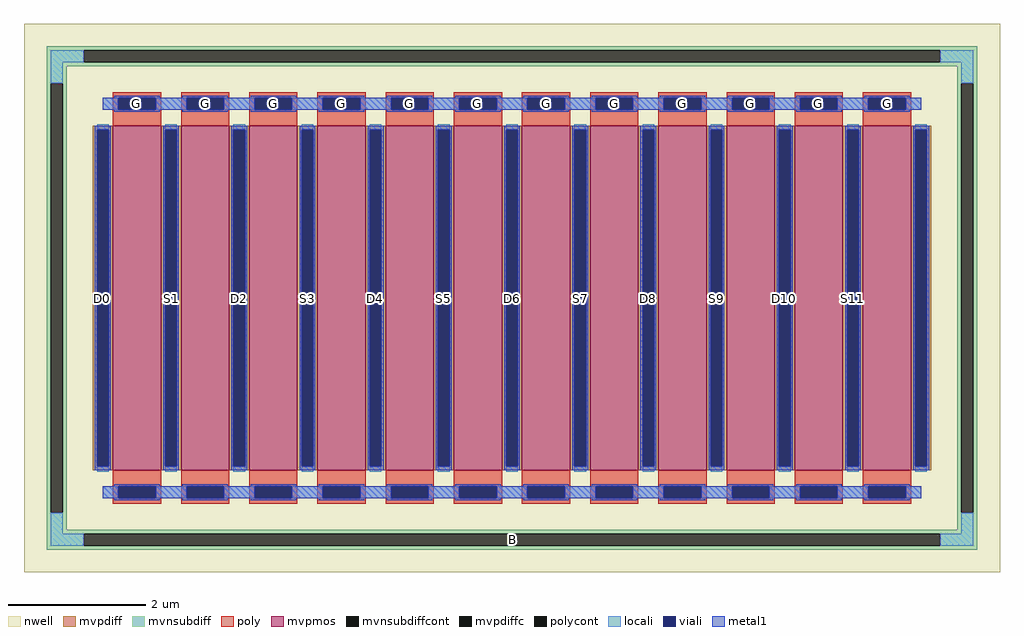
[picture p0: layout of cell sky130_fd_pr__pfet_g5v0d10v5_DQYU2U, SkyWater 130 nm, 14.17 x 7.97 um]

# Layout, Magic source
magic
tech sky130A
magscale 1 2
<< nwell >>
rect -1417 -797 1417 797
<< mvpmos >>
rect -1159 -500 -1019 500
rect -961 -500 -821 500
rect -763 -500 -623 500
rect -565 -500 -425 500
rect -367 -500 -227 500
rect -169 -500 -29 500
rect 29 -500 169 500
rect 227 -500 367 500
rect 425 -500 565 500
rect 623 -500 763 500
rect 821 -500 961 500
rect 1019 -500 1159 500
<< mvpdiff >>
rect -1217 488 -1159 500
rect -1217 -488 -1205 488
rect -1171 -488 -1159 488
rect -1217 -500 -1159 -488
rect -1019 488 -961 500
rect -1019 -488 -1007 488
rect -973 -488 -961 488
rect -1019 -500 -961 -488
rect -821 488 -763 500
rect -821 -488 -809 488
rect -775 -488 -763 488
rect -821 -500 -763 -488
rect -623 488 -565 500
rect -623 -488 -611 488
rect -577 -488 -565 488
rect -623 -500 -565 -488
rect -425 488 -367 500
rect -425 -488 -413 488
rect -379 -488 -367 488
rect -425 -500 -367 -488
rect -227 488 -169 500
rect -227 -488 -215 488
rect -181 -488 -169 488
rect -227 -500 -169 -488
rect -29 488 29 500
rect -29 -488 -17 488
rect 17 -488 29 488
rect -29 -500 29 -488
rect 169 488 227 500
rect 169 -488 181 488
rect 215 -488 227 488
rect 169 -500 227 -488
rect 367 488 425 500
rect 367 -488 379 488
rect 413 -488 425 488
rect 367 -500 425 -488
rect 565 488 623 500
rect 565 -488 577 488
rect 611 -488 623 488
rect 565 -500 623 -488
rect 763 488 821 500
rect 763 -488 775 488
rect 809 -488 821 488
rect 763 -500 821 -488
rect 961 488 1019 500
rect 961 -488 973 488
rect 1007 -488 1019 488
rect 961 -500 1019 -488
rect 1159 488 1217 500
rect 1159 -488 1171 488
rect 1205 -488 1217 488
rect 1159 -500 1217 -488
<< mvpdiffc >>
rect -1205 -488 -1171 488
rect -1007 -488 -973 488
rect -809 -488 -775 488
rect -611 -488 -577 488
rect -413 -488 -379 488
rect -215 -488 -181 488
rect -17 -488 17 488
rect 181 -488 215 488
rect 379 -488 413 488
rect 577 -488 611 488
rect 775 -488 809 488
rect 973 -488 1007 488
rect 1171 -488 1205 488
<< mvnsubdiff >>
rect -1351 719 1351 731
rect -1351 685 -1243 719
rect 1243 685 1351 719
rect -1351 673 1351 685
rect -1351 623 -1293 673
rect -1351 -623 -1339 623
rect -1305 -623 -1293 623
rect 1293 623 1351 673
rect -1351 -673 -1293 -623
rect 1293 -623 1305 623
rect 1339 -623 1351 623
rect 1293 -673 1351 -623
rect -1351 -685 1351 -673
rect -1351 -719 -1243 -685
rect 1243 -719 1351 -685
rect -1351 -731 1351 -719
<< mvnsubdiffcont >>
rect -1243 685 1243 719
rect -1339 -623 -1305 623
rect 1305 -623 1339 623
rect -1243 -719 1243 -685
<< poly >>
rect -1159 581 -1019 597
rect -1159 547 -1143 581
rect -1035 547 -1019 581
rect -1159 500 -1019 547
rect -961 581 -821 597
rect -961 547 -945 581
rect -837 547 -821 581
rect -961 500 -821 547
rect -763 581 -623 597
rect -763 547 -747 581
rect -639 547 -623 581
rect -763 500 -623 547
rect -565 581 -425 597
rect -565 547 -549 581
rect -441 547 -425 581
rect -565 500 -425 547
rect -367 581 -227 597
rect -367 547 -351 581
rect -243 547 -227 581
rect -367 500 -227 547
rect -169 581 -29 597
rect -169 547 -153 581
rect -45 547 -29 581
rect -169 500 -29 547
rect 29 581 169 597
rect 29 547 45 581
rect 153 547 169 581
rect 29 500 169 547
rect 227 581 367 597
rect 227 547 243 581
rect 351 547 367 581
rect 227 500 367 547
rect 425 581 565 597
rect 425 547 441 581
rect 549 547 565 581
rect 425 500 565 547
rect 623 581 763 597
rect 623 547 639 581
rect 747 547 763 581
rect 623 500 763 547
rect 821 581 961 597
rect 821 547 837 581
rect 945 547 961 581
rect 821 500 961 547
rect 1019 581 1159 597
rect 1019 547 1035 581
rect 1143 547 1159 581
rect 1019 500 1159 547
rect -1159 -547 -1019 -500
rect -1159 -581 -1143 -547
rect -1035 -581 -1019 -547
rect -1159 -597 -1019 -581
rect -961 -547 -821 -500
rect -961 -581 -945 -547
rect -837 -581 -821 -547
rect -961 -597 -821 -581
rect -763 -547 -623 -500
rect -763 -581 -747 -547
rect -639 -581 -623 -547
rect -763 -597 -623 -581
rect -565 -547 -425 -500
rect -565 -581 -549 -547
rect -441 -581 -425 -547
rect -565 -597 -425 -581
rect -367 -547 -227 -500
rect -367 -581 -351 -547
rect -243 -581 -227 -547
rect -367 -597 -227 -581
rect -169 -547 -29 -500
rect -169 -581 -153 -547
rect -45 -581 -29 -547
rect -169 -597 -29 -581
rect 29 -547 169 -500
rect 29 -581 45 -547
rect 153 -581 169 -547
rect 29 -597 169 -581
rect 227 -547 367 -500
rect 227 -581 243 -547
rect 351 -581 367 -547
rect 227 -597 367 -581
rect 425 -547 565 -500
rect 425 -581 441 -547
rect 549 -581 565 -547
rect 425 -597 565 -581
rect 623 -547 763 -500
rect 623 -581 639 -547
rect 747 -581 763 -547
rect 623 -597 763 -581
rect 821 -547 961 -500
rect 821 -581 837 -547
rect 945 -581 961 -547
rect 821 -597 961 -581
rect 1019 -547 1159 -500
rect 1019 -581 1035 -547
rect 1143 -581 1159 -547
rect 1019 -597 1159 -581
<< polycont >>
rect -1143 547 -1035 581
rect -945 547 -837 581
rect -747 547 -639 581
rect -549 547 -441 581
rect -351 547 -243 581
rect -153 547 -45 581
rect 45 547 153 581
rect 243 547 351 581
rect 441 547 549 581
rect 639 547 747 581
rect 837 547 945 581
rect 1035 547 1143 581
rect -1143 -581 -1035 -547
rect -945 -581 -837 -547
rect -747 -581 -639 -547
rect -549 -581 -441 -547
rect -351 -581 -243 -547
rect -153 -581 -45 -547
rect 45 -581 153 -547
rect 243 -581 351 -547
rect 441 -581 549 -547
rect 639 -581 747 -547
rect 837 -581 945 -547
rect 1035 -581 1143 -547
<< locali >>
rect -1339 685 -1243 719
rect 1243 685 1339 719
rect -1339 623 -1305 685
rect 1305 623 1339 685
rect -1188 547 -1143 581
rect -1035 547 -945 581
rect -837 547 -747 581
rect -639 547 -549 581
rect -441 547 -351 581
rect -243 547 -153 581
rect -45 547 45 581
rect 153 547 243 581
rect 351 547 441 581
rect 549 547 639 581
rect 747 547 837 581
rect 945 547 1035 581
rect 1143 547 1188 581
rect -1205 488 -1171 504
rect -1205 -504 -1171 -488
rect -1007 488 -973 504
rect -1007 -504 -973 -488
rect -809 488 -775 504
rect -809 -504 -775 -488
rect -611 488 -577 504
rect -611 -504 -577 -488
rect -413 488 -379 504
rect -413 -504 -379 -488
rect -215 488 -181 504
rect -215 -504 -181 -488
rect -17 488 17 504
rect -17 -504 17 -488
rect 181 488 215 504
rect 181 -504 215 -488
rect 379 488 413 504
rect 379 -504 413 -488
rect 577 488 611 504
rect 577 -504 611 -488
rect 775 488 809 504
rect 775 -504 809 -488
rect 973 488 1007 504
rect 973 -504 1007 -488
rect 1171 488 1205 504
rect 1171 -504 1205 -488
rect -1188 -581 -1143 -547
rect -1035 -581 -945 -547
rect -837 -581 -747 -547
rect -639 -581 -549 -547
rect -441 -581 -351 -547
rect -243 -581 -153 -547
rect -45 -581 45 -547
rect 153 -581 243 -547
rect 351 -581 441 -547
rect 549 -581 639 -547
rect 747 -581 837 -547
rect 945 -581 1035 -547
rect 1143 -581 1188 -547
rect -1339 -685 -1305 -623
rect 1305 -685 1339 -623
rect -1339 -719 -1243 -685
rect 1243 -719 1339 -685
<< viali >>
rect -1143 547 -1035 581
rect -945 547 -837 581
rect -747 547 -639 581
rect -549 547 -441 581
rect -351 547 -243 581
rect -153 547 -45 581
rect 45 547 153 581
rect 243 547 351 581
rect 441 547 549 581
rect 639 547 747 581
rect 837 547 945 581
rect 1035 547 1143 581
rect -1205 -488 -1171 488
rect -1007 -488 -973 488
rect -809 -488 -775 488
rect -611 -488 -577 488
rect -413 -488 -379 488
rect -215 -488 -181 488
rect -17 -488 17 488
rect 181 -488 215 488
rect 379 -488 413 488
rect 577 -488 611 488
rect 775 -488 809 488
rect 973 -488 1007 488
rect 1171 -488 1205 488
rect -1143 -581 -1035 -547
rect -945 -581 -837 -547
rect -747 -581 -639 -547
rect -549 -581 -441 -547
rect -351 -581 -243 -547
rect -153 -581 -45 -547
rect 45 -581 153 -547
rect 243 -581 351 -547
rect 441 -581 549 -547
rect 639 -581 747 -547
rect 837 -581 945 -547
rect 1035 -581 1143 -547
<< metal1 >>
rect -1155 581 -1023 587
rect -957 581 -825 587
rect -759 581 -627 587
rect -561 581 -429 587
rect -363 581 -231 587
rect -165 581 -33 587
rect 33 581 165 587
rect 231 581 363 587
rect 429 581 561 587
rect 627 581 759 587
rect 825 581 957 587
rect 1023 581 1155 587
rect -1188 547 -1143 581
rect -1035 547 -945 581
rect -837 547 -747 581
rect -639 547 -549 581
rect -441 547 -351 581
rect -243 547 -153 581
rect -45 547 45 581
rect 153 547 243 581
rect 351 547 441 581
rect 549 547 639 581
rect 747 547 837 581
rect 945 547 1035 581
rect 1143 547 1188 581
rect -1155 541 -1023 547
rect -957 541 -825 547
rect -759 541 -627 547
rect -561 541 -429 547
rect -363 541 -231 547
rect -165 541 -33 547
rect 33 541 165 547
rect 231 541 363 547
rect 429 541 561 547
rect 627 541 759 547
rect 825 541 957 547
rect 1023 541 1155 547
rect -1211 488 -1165 500
rect -1211 -488 -1205 488
rect -1171 -488 -1165 488
rect -1211 -500 -1165 -488
rect -1013 488 -967 500
rect -1013 -488 -1007 488
rect -973 -488 -967 488
rect -1013 -500 -967 -488
rect -815 488 -769 500
rect -815 -488 -809 488
rect -775 -488 -769 488
rect -815 -500 -769 -488
rect -617 488 -571 500
rect -617 -488 -611 488
rect -577 -488 -571 488
rect -617 -500 -571 -488
rect -419 488 -373 500
rect -419 -488 -413 488
rect -379 -488 -373 488
rect -419 -500 -373 -488
rect -221 488 -175 500
rect -221 -488 -215 488
rect -181 -488 -175 488
rect -221 -500 -175 -488
rect -23 488 23 500
rect -23 -488 -17 488
rect 17 -488 23 488
rect -23 -500 23 -488
rect 175 488 221 500
rect 175 -488 181 488
rect 215 -488 221 488
rect 175 -500 221 -488
rect 373 488 419 500
rect 373 -488 379 488
rect 413 -488 419 488
rect 373 -500 419 -488
rect 571 488 617 500
rect 571 -488 577 488
rect 611 -488 617 488
rect 571 -500 617 -488
rect 769 488 815 500
rect 769 -488 775 488
rect 809 -488 815 488
rect 769 -500 815 -488
rect 967 488 1013 500
rect 967 -488 973 488
rect 1007 -488 1013 488
rect 967 -500 1013 -488
rect 1165 488 1211 500
rect 1165 -488 1171 488
rect 1205 -488 1211 488
rect 1165 -500 1211 -488
rect -1155 -547 -1023 -541
rect -957 -547 -825 -541
rect -759 -547 -627 -541
rect -561 -547 -429 -541
rect -363 -547 -231 -541
rect -165 -547 -33 -541
rect 33 -547 165 -541
rect 231 -547 363 -541
rect 429 -547 561 -541
rect 627 -547 759 -541
rect 825 -547 957 -541
rect 1023 -547 1155 -541
rect -1188 -581 -1143 -547
rect -1035 -581 -945 -547
rect -837 -581 -747 -547
rect -639 -581 -549 -547
rect -441 -581 -351 -547
rect -243 -581 -153 -547
rect -45 -581 45 -547
rect 153 -581 243 -547
rect 351 -581 441 -547
rect 549 -581 639 -547
rect 747 -581 837 -547
rect 945 -581 1035 -547
rect 1143 -581 1188 -547
rect -1155 -587 -1023 -581
rect -957 -587 -825 -581
rect -759 -587 -627 -581
rect -561 -587 -429 -581
rect -363 -587 -231 -581
rect -165 -587 -33 -581
rect 33 -587 165 -581
rect 231 -587 363 -581
rect 429 -587 561 -581
rect 627 -587 759 -581
rect 825 -587 957 -581
rect 1023 -587 1155 -581
<< labels >>
rlabel mvnsubdiffcont 0 -702 0 -702 0 B
port 41 nsew
rlabel mvpdiffc -1188 0 -1188 0 0 D0
port 42 nsew
rlabel polycont -1089 564 -1089 564 0 G
port 3 nsew
rlabel mvpdiffc -990 0 -990 0 0 S1
port 43 nsew
rlabel polycont -891 564 -891 564 0 G
port 3 nsew
rlabel mvpdiffc -792 0 -792 0 0 D2
port 44 nsew
rlabel polycont -693 564 -693 564 0 G
port 3 nsew
rlabel mvpdiffc -594 0 -594 0 0 S3
port 45 nsew
rlabel polycont -495 564 -495 564 0 G
port 3 nsew
rlabel mvpdiffc -396 0 -396 0 0 D4
port 46 nsew
rlabel polycont -297 564 -297 564 0 G
port 3 nsew
rlabel mvpdiffc -198 0 -198 0 0 S5
port 47 nsew
rlabel polycont -99 564 -99 564 0 G
port 3 nsew
rlabel mvpdiffc 0 0 0 0 0 D6
port 48 nsew
rlabel polycont 99 564 99 564 0 G
port 3 nsew
rlabel mvpdiffc 198 0 198 0 0 S7
port 49 nsew
rlabel polycont 297 564 297 564 0 G
port 3 nsew
rlabel mvpdiffc 396 0 396 0 0 D8
port 50 nsew
rlabel polycont 495 564 495 564 0 G
port 3 nsew
rlabel mvpdiffc 594 0 594 0 0 S9
port 51 nsew
rlabel polycont 693 564 693 564 0 G
port 3 nsew
rlabel mvpdiffc 792 0 792 0 0 D10
port 52 nsew
rlabel polycont 891 564 891 564 0 G
port 3 nsew
rlabel mvpdiffc 990 0 990 0 0 S11
port 53 nsew
rlabel polycont 1089 564 1089 564 0 G
port 3 nsew
<< properties >>
string FIXED_BBOX -1322 -702 1322 702
string gencell sky130_fd_pr__pfet_g5v0d10v5
string library sky130
string parameters w 5 l 0.7 m 1 nf 12 diffcov 100 polycov 100 guard 1 glc 1 grc 1 gtc 1 gbc 1 tbcov 100 rlcov 100 topc 1 botc 1 poverlap 0 doverlap 1 lmin 0.50 wmin 0.42 class mosfet compatible {sky130_fd_pr__pfet_01v8  sky130_fd_pr__pfet_01v8_lvt sky130_fd_pr__pfet_01v8_hvt  sky130_fd_pr__pfet_g5v0d10v5} full_metal 1 conn_gates 1 viasrc 100 viadrn 100 viagate 100 viagb 0 viagr 0 viagl 0 viagt 0 doports 1
<< end >>
